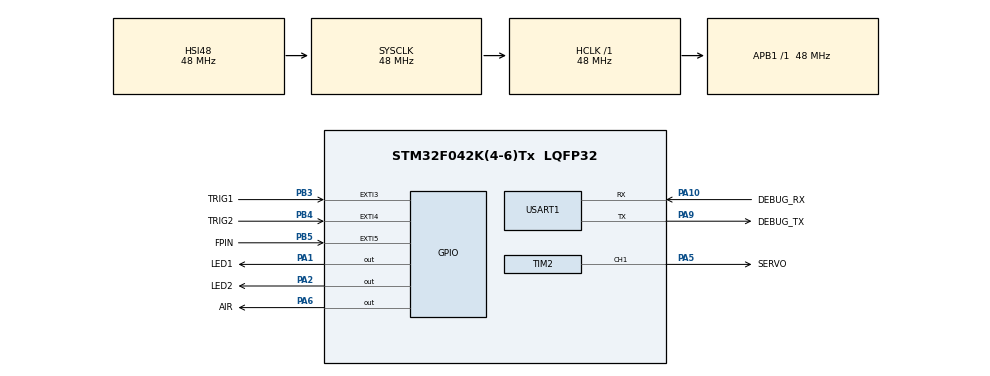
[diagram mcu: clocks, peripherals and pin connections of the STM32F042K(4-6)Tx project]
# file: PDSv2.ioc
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Mcu.Family=STM32F0
Mcu.Name=STM32F042K(4-6)Tx
Mcu.Package=LQFP32
NVIC.EXTI2_3_IRQn=true\:0\:0\:false\:false\:true\:true
NVIC.EXTI4_15_IRQn=true\:0\:0\:false\:false\:true\:true
NVIC.TIM14_IRQn=true\:0\:0\:false\:false\:true\:true
NVIC.TIM16_IRQn=true\:0\:0\:false\:false\:true\:true
PA1.GPIO_Label=LED1
PA1.GPIO_ModeDefaultOutputPP=GPIO_MODE_OUTPUT_PP
PA1.Signal=GPIO_Output
PA10.GPIO_Label=DEBUG_RX
PA10.Mode=Asynchronous
PA10.Signal=USART1_RX
PA13.Mode=Serial_Wire
PA13.Signal=SYS_SWDIO
PA14.Mode=Serial_Wire
PA14.Signal=SYS_SWCLK
PA2.GPIO_Label=LED2
PA2.Signal=GPIO_Output
PA5.GPIO_Label=SERVO
PA5.GPIO_Speed=GPIO_SPEED_FREQ_HIGH
PA5.Signal=S_TIM2_CH1_ETR
PA6.GPIO_Label=AIR
PA6.GPIO_PuPd=GPIO_PULLDOWN
PA6.Signal=GPIO_Output
PA9.GPIO_Label=DEBUG_TX
PA9.Mode=Asynchronous
PA9.Signal=USART1_TX
PB3.GPIO_Label=TRIG1
PB3.GPIO_PuPd=GPIO_PULLDOWN
PB3.Signal=GPXTI3
PB4.GPIO_Label=TRIG2
PB4.GPIO_PuPd=GPIO_PULLDOWN
PB4.Signal=GPXTI4
PB5.GPIO_Label=FPIN
PB5.GPIO_PuPd=GPIO_PULLDOWN
PB5.Signal=GPXTI5
ProjectManager.HeapSize=0x200
ProjectManager.StackSize=0x400
ProjectManager.TargetToolchain=TrueSTUDIO
RCC.AHBFreq_Value=48000000
RCC.APB1Freq_Value=48000000
RCC.APB1TimFreq_Value=48000000
RCC.HCLKFreq_Value=48000000
RCC.SYSCLKFreq_VALUE=48000000
RCC.SYSCLKSource=RCC_SYSCLKSOURCE_HSI48
SH.S_TIM2_CH1_ETR.0=TIM2_CH1,PWM Generation1 CH1
TIM14.Period=9000-1
TIM14.Prescaler=48000-1
TIM16.Period=16000-1
TIM16.Prescaler=48000-1
TIM2.AutoReloadPreload=TIM_AUTORELOAD_PRELOAD_ENABLE
TIM2.Channel-PWM\ Generation1\ CH1=TIM_CHANNEL_1
TIM2.OCFastMode_PWM-PWM\ Generation1\ CH1=TIM_OCFAST_ENABLE
TIM2.Period=10000-1
TIM2.Prescaler=96-1
TIM2.Pulse-PWM\ Generation1\ CH1=0
USART1.VirtualMode-Asynchronous=VM_ASYNC
VP_TIM14_VS_ClockSourceINT.Mode=Enable_Timer
VP_TIM16_VS_ClockSourceINT.Mode=Enable_Timer
VP_TIM2_VS_ClockSourceINT.Mode=Internal
board=custom

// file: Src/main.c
/* USER CODE BEGIN Header */
/**
  ******************************************************************************
  * @file           : main.c
  * @brief          : Main program body
  ******************************************************************************
  ** This notice applies to any and all portions of this file
  * that are not between comment pairs USER CODE BEGIN and
  * USER CODE END. Other portions of this file, whether
  * inserted by the user or by software development tools
  * are owned by their respective copyright owners.
  *
  * COPYRIGHT(c) 2019 STMicroelectronics
  *
  * Redistribution and use in source and binary forms, with or without modification,
  * are permitted provided that the following conditions are met:
  *   1. Redistributions of source code must retain the above copyright notice,
  *      this list of conditions and the following disclaimer.
  *   2. Redistributions in binary form must reproduce the above copyright notice,
  *      this list of conditions and the following disclaimer in the documentation
  *      and/or other materials provided with the distribution.
  *   3. Neither the name of STMicroelectronics nor the names of its contributors
  *      may be used to endorse or promote products derived from this software
  *      without specific prior written permission.
  *
  * THIS SOFTWARE IS PROVIDED BY THE COPYRIGHT HOLDERS AND CONTRIBUTORS "AS IS"
  * AND ANY EXPRESS OR IMPLIED WARRANTIES, INCLUDING, BUT NOT LIMITED TO, THE
  * IMPLIED WARRANTIES OF MERCHANTABILITY AND FITNESS FOR A PARTICULAR PURPOSE ARE
  * DISCLAIMED. IN NO EVENT SHALL THE COPYRIGHT HOLDER OR CONTRIBUTORS BE LIABLE
  * FOR ANY DIRECT, INDIRECT, INCIDENTAL, SPECIAL, EXEMPLARY, OR CONSEQUENTIAL
  * DAMAGES (INCLUDING, BUT NOT LIMITED TO, PROCUREMENT OF SUBSTITUTE GOODS OR
  * SERVICES; LOSS OF USE, DATA, OR PROFITS; OR BUSINESS INTERRUPTION) HOWEVER
  * CAUSED AND ON ANY THEORY OF LIABILITY, WHETHER IN CONTRACT, STRICT LIABILITY,
  * OR TORT (INCLUDING NEGLIGENCE OR OTHERWISE) ARISING IN ANY WAY OUT OF THE USE
  * OF THIS SOFTWARE, EVEN IF ADVISED OF THE POSSIBILITY OF SUCH DAMAGE.
  *
  ******************************************************************************
  */
/* USER CODE END Header */

#include "main.h"

/* USER CODE BEGIN Includes */
#include "stm32f0xx_hal.h"
#include "rocket.h"
/* USER CODE END Includes */

TIM_HandleTypeDef htim2;
TIM_HandleTypeDef htim14;
TIM_HandleTypeDef htim16;

UART_HandleTypeDef huart1;

void SystemClock_Config(void);
static void MX_GPIO_Init(void);
static void MX_USART1_UART_Init(void);
static void MX_TIM2_Init(void);
static void MX_TIM14_Init(void);
static void MX_TIM16_Init(void);
/* USER CODE BEGIN PFP */

void DriveServo();
void ReleaseServo();
void DriveAirCylinder();
void ReleaseAirCylinder();

/* USER CODE END PFP */

/* USER CODE BEGIN 0 */
Rocket_Info_t rocket_info;

char buf[256];
/* USER CODE END 0 */

int main(void)
{

  /* MCU Configuration--------------------------------------------------------*/

  /* Reset of all peripherals, Initializes the Flash interface and the Systick. */
  HAL_Init();

  /* Configure the system clock */
  SystemClock_Config();

  /* Initialize all configured peripherals */
  MX_GPIO_Init();
  MX_USART1_UART_Init();
  MX_TIM2_Init();
  MX_TIM14_Init();
  MX_TIM16_Init();
  /* USER CODE BEGIN 2 */

  HAL_TIM_PWM_Start(&htim2, TIM_CHANNEL_1);

  /* USER CODE END 2 */

  /* Infinite loop */
  /* USER CODE BEGIN WHILE */
  HAL_GPIO_WritePin(GPIOA,GPIO_PIN_1,RESET);
  HAL_GPIO_WritePin(GPIOA,GPIO_PIN_2,SET);

  Rocket_Init(rocket_info);

  DriveAirCylinder();
  HAL_Delay(5000);

  HAL_GPIO_WritePin(GPIOA,GPIO_PIN_1,SET);

  ReleaseServo();
  ReleaseAirCylinder();

  while (1)
  {
	  if(0 != (Rocket_isAllowedDeploy(rocket_info)&ROCKET_ALLOWEDDEPLOY)){
		  if(0 != (Rocket_isAbleToDeploy_1stStage(rocket_info)&ROCKET_ABLETODEPLOY_1STSTAGE)){
			  DriveServo();
		  }
		  if(0 != (Rocket_isAbleToDeploy_2ndStage(rocket_info)&ROCKET_ABLETODEPLOY_2NDSTAGE)){
			  ReleaseServo();
			  DriveAirCylinder();
			  HAL_Delay(3000);
			  ReleaseAirCylinder();
			  break;
		  }
	  }

    /* USER CODE END WHILE */

  }
}

void SystemClock_Config(void)
{
  RCC_OscInitTypeDef RCC_OscInitStruct = {0};
  RCC_ClkInitTypeDef RCC_ClkInitStruct = {0};
  RCC_PeriphCLKInitTypeDef PeriphClkInit = {0};

  /**Initializes the CPU, AHB and APB busses clocks
  */
  RCC_OscInitStruct.OscillatorType = RCC_OSCILLATORTYPE_HSI48;
  RCC_OscInitStruct.HSI48State = RCC_HSI48_ON;
  RCC_OscInitStruct.PLL.PLLState = RCC_PLL_NONE;
  if (HAL_RCC_OscConfig(&RCC_OscInitStruct) != HAL_OK)
  {
    Error_Handler();
  }
  /**Initializes the CPU, AHB and APB busses clocks
  */
  RCC_ClkInitStruct.ClockType = RCC_CLOCKTYPE_HCLK|RCC_CLOCKTYPE_SYSCLK
                              |RCC_CLOCKTYPE_PCLK1;
  RCC_ClkInitStruct.SYSCLKSource = RCC_SYSCLKSOURCE_HSI48;
  RCC_ClkInitStruct.AHBCLKDivider = RCC_SYSCLK_DIV1;
  RCC_ClkInitStruct.APB1CLKDivider = RCC_HCLK_DIV1;

  if (HAL_RCC_ClockConfig(&RCC_ClkInitStruct, FLASH_LATENCY_1) != HAL_OK)
  {
    Error_Handler();
  }
  PeriphClkInit.PeriphClockSelection = RCC_PERIPHCLK_USART1;
  PeriphClkInit.Usart1ClockSelection = RCC_USART1CLKSOURCE_PCLK1;
  if (HAL_RCCEx_PeriphCLKConfig(&PeriphClkInit) != HAL_OK)
  {
    Error_Handler();
  }
}

static void MX_TIM2_Init(void)
{

  TIM_ClockConfigTypeDef sClockSourceConfig = {0};
  TIM_MasterConfigTypeDef sMasterConfig = {0};
  TIM_OC_InitTypeDef sConfigOC = {0};

  htim2.Instance = TIM2;
  htim2.Init.Prescaler = 96-1;
  htim2.Init.CounterMode = TIM_COUNTERMODE_UP;
  htim2.Init.Period = 10000-1;
  htim2.Init.ClockDivision = TIM_CLOCKDIVISION_DIV1;
  htim2.Init.AutoReloadPreload = TIM_AUTORELOAD_PRELOAD_ENABLE;
  if (HAL_TIM_Base_Init(&htim2) != HAL_OK)
  {
    Error_Handler();
  }
  sClockSourceConfig.ClockSource = TIM_CLOCKSOURCE_INTERNAL;
  if (HAL_TIM_ConfigClockSource(&htim2, &sClockSourceConfig) != HAL_OK)
  {
    Error_Handler();
  }
  if (HAL_TIM_PWM_Init(&htim2) != HAL_OK)
  {
    Error_Handler();
  }
  sMasterConfig.MasterOutputTrigger = TIM_TRGO_RESET;
  sMasterConfig.MasterSlaveMode = TIM_MASTERSLAVEMODE_DISABLE;
  if (HAL_TIMEx_MasterConfigSynchronization(&htim2, &sMasterConfig) != HAL_OK)
  {
    Error_Handler();
  }
  sConfigOC.OCMode = TIM_OCMODE_PWM1;
  sConfigOC.Pulse = 0;
  sConfigOC.OCPolarity = TIM_OCPOLARITY_HIGH;
  sConfigOC.OCFastMode = TIM_OCFAST_ENABLE;
  if (HAL_TIM_PWM_ConfigChannel(&htim2, &sConfigOC, TIM_CHANNEL_1) != HAL_OK)
  {
    Error_Handler();
  }
  HAL_TIM_MspPostInit(&htim2);

}

static void MX_TIM14_Init(void)
{

  htim14.Instance = TIM14;
  htim14.Init.Prescaler = 48000-1;
  htim14.Init.CounterMode = TIM_COUNTERMODE_UP;
  htim14.Init.Period = 9000-1;
  htim14.Init.ClockDivision = TIM_CLOCKDIVISION_DIV1;
  htim14.Init.AutoReloadPreload = TIM_AUTORELOAD_PRELOAD_DISABLE;
  if (HAL_TIM_Base_Init(&htim14) != HAL_OK)
  {
    Error_Handler();
  }

}

static void MX_TIM16_Init(void)
{

  htim16.Instance = TIM16;
  htim16.Init.Prescaler = 48000-1;
  htim16.Init.CounterMode = TIM_COUNTERMODE_UP;
  htim16.Init.Period = 16000-1;
  htim16.Init.ClockDivision = TIM_CLOCKDIVISION_DIV1;
  htim16.Init.RepetitionCounter = 0;
  htim16.Init.AutoReloadPreload = TIM_AUTORELOAD_PRELOAD_DISABLE;
  if (HAL_TIM_Base_Init(&htim16) != HAL_OK)
  {
    Error_Handler();
  }

}

static void MX_USART1_UART_Init(void)
{

  huart1.Instance = USART1;
  huart1.Init.BaudRate = 38400;
  huart1.Init.WordLength = UART_WORDLENGTH_8B;
  huart1.Init.StopBits = UART_STOPBITS_1;
  huart1.Init.Parity = UART_PARITY_NONE;
  huart1.Init.Mode = UART_MODE_TX_RX;
  huart1.Init.HwFlowCtl = UART_HWCONTROL_NONE;
  huart1.Init.OverSampling = UART_OVERSAMPLING_16;
  huart1.Init.OneBitSampling = UART_ONE_BIT_SAMPLE_DISABLE;
  huart1.AdvancedInit.AdvFeatureInit = UART_ADVFEATURE_NO_INIT;
  if (HAL_UART_Init(&huart1) != HAL_OK)
  {
    Error_Handler();
  }

}

static void MX_GPIO_Init(void)
{
  GPIO_InitTypeDef GPIO_InitStruct = {0};

  /* GPIO Ports Clock Enable */
  __HAL_RCC_GPIOA_CLK_ENABLE();
  __HAL_RCC_GPIOB_CLK_ENABLE();

  /*Configure GPIO pin Output Level */
  HAL_GPIO_WritePin(GPIOA, LED1_Pin|LED2_Pin|AIR_Pin, GPIO_PIN_RESET);

  /*Configure GPIO pins : LED1_Pin LED2_Pin */
  GPIO_InitStruct.Pin = LED1_Pin|LED2_Pin;
  GPIO_InitStruct.Mode = GPIO_MODE_OUTPUT_PP;
  GPIO_InitStruct.Pull = GPIO_NOPULL;
  GPIO_InitStruct.Speed = GPIO_SPEED_FREQ_LOW;
  HAL_GPIO_Init(GPIOA, &GPIO_InitStruct);

  /*Configure GPIO pin : AIR_Pin */
  GPIO_InitStruct.Pin = AIR_Pin;
  GPIO_InitStruct.Mode = GPIO_MODE_OUTPUT_PP;
  GPIO_InitStruct.Pull = GPIO_PULLDOWN;
  GPIO_InitStruct.Speed = GPIO_SPEED_FREQ_LOW;
  HAL_GPIO_Init(AIR_GPIO_Port, &GPIO_InitStruct);

  /*Configure GPIO pins : TRIG1_Pin TRIG2_Pin FPIN_Pin */
  GPIO_InitStruct.Pin = TRIG1_Pin|TRIG2_Pin|FPIN_Pin;
  GPIO_InitStruct.Mode = GPIO_MODE_IT_RISING;
  GPIO_InitStruct.Pull = GPIO_PULLDOWN;
  HAL_GPIO_Init(GPIOB, &GPIO_InitStruct);

  /* EXTI interrupt init*/
  HAL_NVIC_SetPriority(EXTI2_3_IRQn, 0, 0);
  HAL_NVIC_EnableIRQ(EXTI2_3_IRQn);

  HAL_NVIC_SetPriority(EXTI4_15_IRQn, 0, 0);
  HAL_NVIC_EnableIRQ(EXTI4_15_IRQn);

}

/* USER CODE BEGIN 4 */
void HAL_GPIO_EXTI_Callback(uint16_t GPIO_Pin) {
	if(GPIO_Pin == FPIN_Pin) {

		Rocket_UpdateStatusLaunched(&rocket_info);

		__HAL_TIM_CLEAR_FLAG(&htim14, TIM_FLAG_UPDATE);
		HAL_TIM_Base_Start_IT(&htim14);

		__HAL_TIM_CLEAR_FLAG(&htim16, TIM_FLAG_UPDATE);
		HAL_TIM_Base_Start_IT(&htim16);

		HAL_GPIO_WritePin(GPIOA,GPIO_PIN_2,RESET);

	}

	if(GPIO_Pin == TRIG1_Pin){
		Rocket_UpdateStatusAbleToDeploy_1stStage(&rocket_info);
		HAL_GPIO_WritePin(GPIOA,GPIO_PIN_2,SET);
	}

	if(GPIO_Pin == TRIG2_Pin){
		Rocket_UpdateStatusAbleToDeploy_2ndStage(&rocket_info);
	}
}

void HAL_TIM_PeriodElapsedCallback(TIM_HandleTypeDef* htim) {

	if(htim->Instance == TIM14){
		Rocket_UpdateStatusAllowDeploy(&rocket_info);
		HAL_TIM_Base_Stop_IT(&htim14);
	}

	if(htim->Instance == TIM16){
		Rocket_UpdateStatusAbleToDeploy_1stStage(&rocket_info);
		HAL_TIM_Base_Stop_IT(&htim16);
	}

}

void DriveServo(){
	int pulse = 350;
	__HAL_TIM_SET_COMPARE(&htim2, TIM_CHANNEL_1, pulse);
}
void ReleaseServo(){
	int pulse = 30;
	__HAL_TIM_SET_COMPARE(&htim2, TIM_CHANNEL_1, pulse);
}
void DriveAirCylinder(){
	HAL_GPIO_WritePin(AIR_GPIO_Port,AIR_Pin,SET);
}
void ReleaseAirCylinder(){
	HAL_GPIO_WritePin(AIR_GPIO_Port,AIR_Pin,RESET);
}

/* USER CODE END 4 */

void Error_Handler(void)
{
}

/************************ (C) COPYRIGHT STMicroelectronics *****END OF FILE****/
